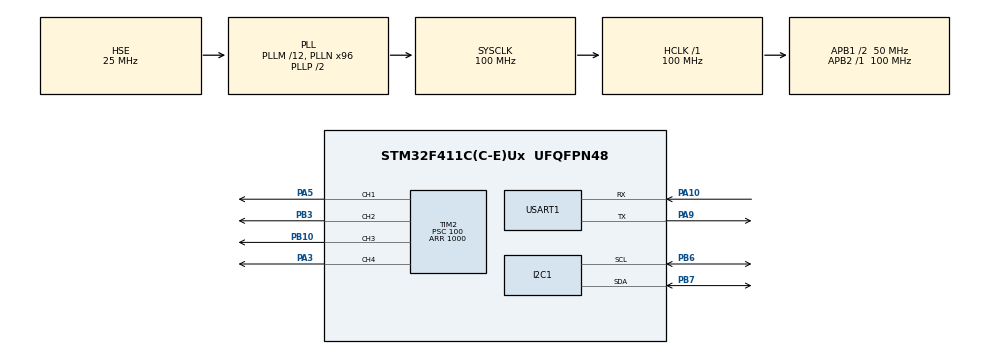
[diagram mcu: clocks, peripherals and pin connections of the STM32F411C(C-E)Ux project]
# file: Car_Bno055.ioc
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Mcu.Family=STM32F4
Mcu.Name=STM32F411C(C-E)Ux
Mcu.Package=UFQFPN48
NVIC.PriorityGroup=NVIC_PRIORITYGROUP_4
PA10.Mode=Asynchronous
PA10.Signal=USART1_RX
PA13.Mode=Serial_Wire
PA13.Signal=SYS_JTMS-SWDIO
PA14.Mode=Serial_Wire
PA14.Signal=SYS_JTCK-SWCLK
PA3.Signal=S_TIM2_CH4
PA5.Signal=S_TIM2_CH1_ETR
PA9.Mode=Asynchronous
PA9.Signal=USART1_TX
PB10.Signal=S_TIM2_CH3
PB3.Signal=S_TIM2_CH2
PB6.Mode=I2C
PB6.Signal=I2C1_SCL
PB7.Mode=I2C
PB7.Signal=I2C1_SDA
PH0\ -\ OSC_IN.Mode=HSE-External-Oscillator
PH0\ -\ OSC_IN.Signal=RCC_OSC_IN
PH1\ -\ OSC_OUT.Mode=HSE-External-Oscillator
PH1\ -\ OSC_OUT.Signal=RCC_OSC_OUT
ProjectManager.HeapSize=0x200
ProjectManager.StackSize=0x400
ProjectManager.TargetToolchain=MDK-ARM V5.27
RCC.48MHZClocksFreq_Value=50000000
RCC.AHBFreq_Value=100000000
RCC.APB1CLKDivider=RCC_HCLK_DIV2
RCC.APB1Freq_Value=50000000
RCC.APB1TimFreq_Value=100000000
RCC.APB2Freq_Value=100000000
RCC.APB2TimFreq_Value=100000000
RCC.CortexFreq_Value=100000000
RCC.HCLKFreq_Value=100000000
RCC.HSE_VALUE=25000000
RCC.HSI_VALUE=16000000
RCC.LSE_VALUE=32768
RCC.PLLM=12
RCC.PLLN=96
RCC.PLLSourceVirtual=RCC_PLLSOURCE_HSE
RCC.SYSCLKFreq_VALUE=100000000
RCC.SYSCLKSource=RCC_SYSCLKSOURCE_PLLCLK
RCC.VCOOutputFreq_Value=200000000
SH.S_TIM2_CH1_ETR.0=TIM2_CH1,PWM Generation1 CH1
SH.S_TIM2_CH2.0=TIM2_CH2,PWM Generation2 CH2
SH.S_TIM2_CH3.0=TIM2_CH3,PWM Generation3 CH3
SH.S_TIM2_CH4.0=TIM2_CH4,PWM Generation4 CH4
TIM2.Channel-PWM\ Generation1\ CH1=TIM_CHANNEL_1
TIM2.Channel-PWM\ Generation2\ CH2=TIM_CHANNEL_2
TIM2.Channel-PWM\ Generation3\ CH3=TIM_CHANNEL_3
TIM2.Channel-PWM\ Generation4\ CH4=TIM_CHANNEL_4
TIM2.Period=1000
TIM2.Prescaler=100
USART1.VirtualMode=VM_ASYNC
VP_TIM2_VS_ClockSourceINT.Mode=Internal
board=custom

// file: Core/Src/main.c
/* USER CODE BEGIN Header */
/**
  ******************************************************************************
  * @file           : main.c
  * @brief          : Main program body
  ******************************************************************************
  * @attention
  *
  * <h2><center>&copy; Copyright (c) 2021 STMicroelectronics.
  * All rights reserved.</center></h2>
  *
  * This software component is licensed by ST under BSD 3-Clause license,
  * the "License"; You may not use this file except in compliance with the
  * License. You may obtain a copy of the License at:
  *                        opensource.org/licenses/BSD-3-Clause
  *
  ******************************************************************************
  */
/* USER CODE END Header */
#include "main.h"
#include "i2c.h"
#include "tim.h"
#include "usart.h"
#include "gpio.h"

/* USER CODE BEGIN Includes */
#include "stdio.h"
#include "bno055.h"
#include "Bno.h"
#include "pid.h"
#include "stdlib.h"

/* USER CODE END Includes */

/* USER CODE BEGIN PTD */
fp32 speed_pid_parameters1[] = {5,0,0};
fp32 speed_pid_parameters2[] = {0,0,0};

int Y0;
/* USER CODE END PTD */

void SystemClock_Config(void);

int main(void)
{

  /* MCU Configuration--------------------------------------------------------*/

  /* Reset of all peripherals, Initializes the Flash interface and the Systick. */
  HAL_Init();

  /* Configure the system clock */
  SystemClock_Config();

  /* Initialize all configured peripherals */
  MX_GPIO_Init();
  MX_TIM2_Init();
  MX_USART1_UART_Init();
  MX_I2C1_Init();
  /* USER CODE BEGIN 2 */
  BnoInit();
  //HAL_TIM_PWM_Start(&htim2, TIM_CHANNEL_1);	    // TIM3_CH1(pwm)
//	HAL_TIM_PWM_Start(&htim2, TIM_CHANNEL_2);	    // TIM3_CH2(pwm)
//	HAL_TIM_PWM_Start(&htim2, TIM_CHANNEL_3);	    // TIM3_CH3(pwm)
//  HAL_TIM_PWM_Start(&htim2, TIM_CHANNEL_4);	    // TIM3_CH4(pwm)

  PID_Init(&speed1, PID_POSITION, speed_pid_parameters1,	1000,1000);
  PID_Init(&speed2, PID_POSITION, speed_pid_parameters2,	1000,1000);
  /* USER CODE END 2 */

  /* Infinite loop */
  while (1)
  {

    /* USER CODE BEGIN 3 */
		Print_Bno_data();
		HAL_Delay(50);
  }
  /* USER CODE END 3 */
}

void SystemClock_Config(void)
{
  RCC_OscInitTypeDef RCC_OscInitStruct = {0};
  RCC_ClkInitTypeDef RCC_ClkInitStruct = {0};

  /** Configure the main internal regulator output voltage
  */
  __HAL_RCC_PWR_CLK_ENABLE();
  __HAL_PWR_VOLTAGESCALING_CONFIG(PWR_REGULATOR_VOLTAGE_SCALE1);
  /** Initializes the RCC Oscillators according to the specified parameters
  * in the RCC_OscInitTypeDef structure.
  */
  RCC_OscInitStruct.OscillatorType = RCC_OSCILLATORTYPE_HSE;
  RCC_OscInitStruct.HSEState = RCC_HSE_ON;
  RCC_OscInitStruct.PLL.PLLState = RCC_PLL_ON;
  RCC_OscInitStruct.PLL.PLLSource = RCC_PLLSOURCE_HSE;
  RCC_OscInitStruct.PLL.PLLM = 12;
  RCC_OscInitStruct.PLL.PLLN = 96;
  RCC_OscInitStruct.PLL.PLLP = RCC_PLLP_DIV2;
  RCC_OscInitStruct.PLL.PLLQ = 4;
  if (HAL_RCC_OscConfig(&RCC_OscInitStruct) != HAL_OK)
  {
    Error_Handler();
  }
  /** Initializes the CPU, AHB and APB buses clocks
  */
  RCC_ClkInitStruct.ClockType = RCC_CLOCKTYPE_HCLK|RCC_CLOCKTYPE_SYSCLK
                              |RCC_CLOCKTYPE_PCLK1|RCC_CLOCKTYPE_PCLK2;
  RCC_ClkInitStruct.SYSCLKSource = RCC_SYSCLKSOURCE_PLLCLK;
  RCC_ClkInitStruct.AHBCLKDivider = RCC_SYSCLK_DIV1;
  RCC_ClkInitStruct.APB1CLKDivider = RCC_HCLK_DIV2;
  RCC_ClkInitStruct.APB2CLKDivider = RCC_HCLK_DIV1;

  if (HAL_RCC_ClockConfig(&RCC_ClkInitStruct, FLASH_LATENCY_3) != HAL_OK)
  {
    Error_Handler();
  }
}

/* USER CODE BEGIN 4 */
int fputc(int ch, FILE *f)
{
	HAL_UART_Transmit(&huart1,(uint8_t *)&ch,1,HAL_MAX_DELAY);
	return ch;
}
/* USER CODE END 4 */

void Error_Handler(void)
{
  __disable_irq();
  while (1)
  {
  }
}

/************************ (C) COPYRIGHT STMicroelectronics *****END OF FILE****/
